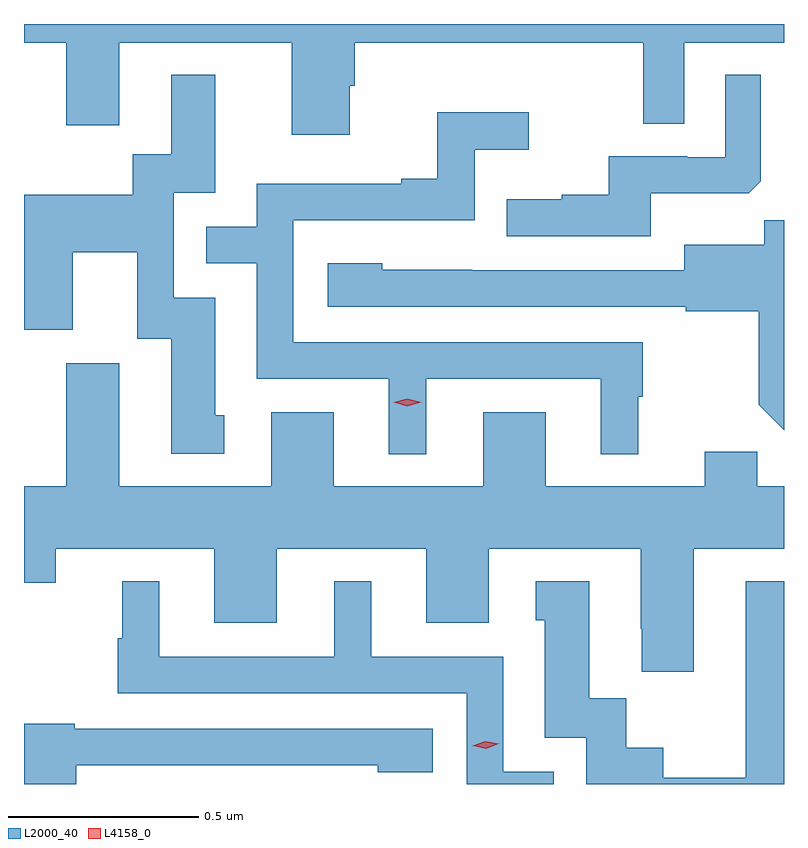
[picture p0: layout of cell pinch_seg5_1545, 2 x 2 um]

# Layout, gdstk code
import gdstk
lib = gdstk.Library(unit=1e-6, precision=1e-09)
def P(c, l, *ps):  # polygons
    for p in ps: c.add(gdstk.Polygon(p, *l))
L2000_40 = (2000, 40)
L4158_0 = (4158, 0)

pinch_seg5_1545 = lib.new_cell('pinch_seg5_1545')
P(pinch_seg5_1545, L2000_40, [(205.303,848.655),(205.316,848.655),(205.316,848.768),(206.076,848.768),(206.076,848.554),(206.184,848.554),(206.184,848.768),(206.446,848.768),(206.446,848.817),(204.446,848.817),(204.446,848.768),(204.557,848.768),(204.557,848.55),(204.697,848.55),(204.697,848.768),(205.151,848.768),(205.151,848.526),(205.303,848.526)],
  [(206.095,848.372),(206.353,848.372),(206.385,848.403),(206.385,848.683),(206.292,848.683),(206.292,848.466),(206.192,848.466),(206.192,848.469),(205.985,848.469),(205.985,848.368),(205.861,848.368),(205.861,848.356),(205.717,848.356),(205.717,848.259),(206.095,848.259)],
  [(204.973,847.788),(204.949,847.788),(204.949,848.097),(204.84,848.097),(204.84,848.373),(204.949,848.373),(204.949,848.683),(204.833,848.683),(204.833,848.474),(204.732,848.474),(204.732,848.368),(204.446,848.368),(204.446,848.012),(204.574,848.012),(204.574,848.216),(204.744,848.216),(204.744,847.989),(204.833,847.989),(204.833,847.686),(204.973,847.686)],
  [(205.504,847.884),(205.964,847.884),(205.964,847.685),(206.062,847.685),(206.062,847.836),(206.074,847.836),(206.074,847.98),(205.155,847.98),(205.155,848.301),(205.632,848.301),(205.632,848.486),(205.774,848.486),(205.774,848.585),(205.534,848.585),(205.534,848.41),(205.439,848.41),(205.439,848.397),(205.059,848.397),(205.059,848.283),(204.925,848.283),(204.925,848.187),(205.059,848.187),(205.059,847.884),(205.406,847.884),(205.406,847.685),(205.504,847.685)],
  [(206.446,848.3),(206.394,848.3),(206.394,848.236),(206.183,848.236),(206.183,848.169),(205.625,848.169),(205.625,848.17),(205.389,848.17),(205.389,848.188),(205.245,848.188),(205.245,848.073),(206.187,848.073),(206.187,848.061),(206.379,848.061),(206.379,847.815),(206.446,847.748)],
  [(206.209,847.436),(206.446,847.436),(206.446,847.6),(206.375,847.6),(206.375,847.691),(206.237,847.691),(206.237,847.6),(205.819,847.6),(205.819,847.795),(205.655,847.795),(205.655,847.6),(205.261,847.6),(205.261,847.795),(205.097,847.795),(205.097,847.6),(204.697,847.6),(204.697,847.924),(204.557,847.924),(204.557,847.6),(204.446,847.6),(204.446,847.346),(204.529,847.346),(204.529,847.436),(204.947,847.436),(204.947,847.242),(205.111,847.242),(205.111,847.436),(205.505,847.436),(205.505,847.242),(205.669,847.242),(205.669,847.436),(206.069,847.436),(206.069,847.225),(206.072,847.225),(206.072,847.113),(206.209,847.113)],
  [(206.446,847.351),(206.345,847.351),(206.345,846.833),(206.128,846.833),(206.128,846.913),(206.031,846.913),(206.031,847.043),(205.933,847.043),(205.933,847.351),(205.793,847.351),(205.793,847.248),(205.817,847.248),(205.817,846.939),(205.926,846.939),(205.926,846.817),(206.446,846.817)],
  [(205.84,846.849),(205.707,846.849),(205.707,847.152),(205.36,847.152),(205.36,847.351),(205.262,847.351),(205.262,847.152),(204.802,847.152),(204.802,847.351),(204.704,847.351),(204.704,847.2),(204.693,847.2),(204.693,847.056),(205.611,847.056),(205.611,846.817),(205.84,846.817)],
  [(204.583,846.867),(205.141,846.867),(205.141,846.866),(205.377,846.866),(205.377,846.848),(205.522,846.848),(205.522,846.963),(204.579,846.963),(204.579,846.976),(204.446,846.976),(204.446,846.817),(204.583,846.817)])
P(pinch_seg5_1545, L4158_0, [(205.455,847.811),(205.419,847.821),(205.419,847.821),(205.419,847.821),(205.455,847.831),(205.491,847.821),(205.491,847.821),(205.491,847.821)],
  [(205.662,846.91),(205.627,846.918),(205.626,846.918),(205.627,846.918),(205.66,846.93),(205.695,846.923),(205.696,846.923),(205.695,846.923)])

lib.write_gds('pinch_seg5_1545.gds')
